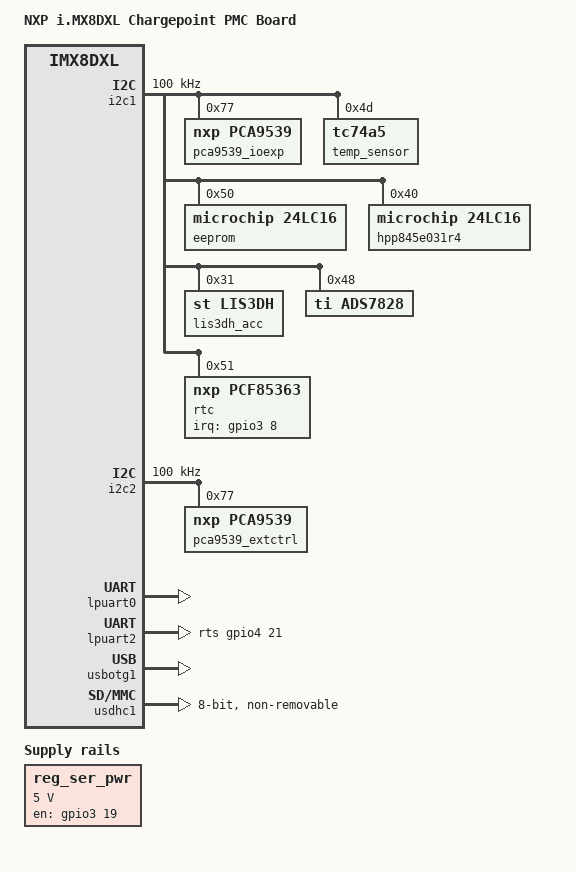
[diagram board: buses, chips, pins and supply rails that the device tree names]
// SPDX-License-Identifier: GPL-2.0+
/*
 * Copyright 2020 NXP
 */

/dts-v1/;

#include "fsl-imx8dxl.dtsi"

#if !defined(CONFIG_FASTBOOT_UUU_SUPPORT)
#include "chargepoint-pubkey.dtsi"
#include "prod-pubkey-pmc.dtsi"
#endif

/ {
	model = "NXP i.MX8DXL Chargepoint PMC Board";
	compatible = "fsl,imx8dxl-pmc", "fsl,imx8dxl";

	chosen {
		bootargs = "console=ttyLP0,115200 earlycon";
		stdout-path = &lpuart0;
	};

	regulators {
		compatible = "simple-bus";
		#address-cells = <1>;
		#size-cells = <0>;

		/* for RS485 and CAN transceiver */
		reg_ser_pwr: regulator-serial-power {
			compatible = "regulator-fixed";
			regulator-name = "ser_pwr_en";
			regulator-min-microvolt = <5000000>;
			regulator-max-microvolt = <5000000>;
			gpio = <&gpio3 19 GPIO_ACTIVE_HIGH>;
			enable-active-high;
			regulator-always-on;
		};

	};
};

&iomuxc {
	pinctrl-names = "default";
	pinctrl-0 = <&pinctrl_hog>;

	pinctrl_hog: hoggrp {
		fsl,pins = <
			SC_P_PCIE_CTRL0_WAKE_B_LSIO_GPIO4_IO02		0x04000021/* ACCEL_INT_B */
			SC_P_PCIE_CTRL0_PERST_B_LSIO_GPIO4_IO00		0x06000021/* INT_B */
			SC_P_PCIE_CTRL0_CLKREQ_B_LSIO_GPIO4_IO01	0x06000021/* SHOCK_SHUNT_TRIP */

			SC_P_SNVS_TAMPER_OUT1_LSIO_GPIO2_IO05_IN	0x20000040/* SOC_SURGE_DET1 */
			SC_P_SNVS_TAMPER_OUT2_LSIO_GPIO2_IO06_IN	0x20000060 /* SOC_SURGE_DET2 */
			SC_P_SNVS_TAMPER_OUT3_LSIO_GPIO2_IO07_IN	0x20000060 /* SOC_SURGE_DET3 */
			SC_P_SNVS_TAMPER_OUT4_LSIO_GPIO2_IO08_IN	0x20000060 /* SOC_SURGE_DET4 */
			SC_P_SPI1_SDI_LSIO_GPIO3_IO02			0x20000020 /* SOC_SURGE_DET5 */

			SC_P_USB_SS3_TC1_LSIO_GPIO4_IO04		0x20000040 /* PM_RESET_N */
			SC_P_USB_SS3_TC3_LSIO_GPIO4_IO06		0x20000020 /* PM_INT_IN */
			SC_P_SPI3_SCK_LSIO_GPIO0_IO13			0x20000040 /* SOC_THER_SW1 */
			SC_P_SPI3_SDI_LSIO_GPIO0_IO15 			0x20000040 /* SOC_THER_SW2 */
			SC_P_SPI3_SDO_LSIO_GPIO0_IO14			0x24000060 /* SOC_THER_SW3 */
			SC_P_MCLK_IN0_LSIO_GPIO0_IO19			0x20000040 /* SOC_THER_SW4 */
			/*SC_P_PMIC_INT_B_SCU_DSC_PMIC_INT_B		0x1b0b0 /* PMIC_INT_B */

			SC_P_MCLK_IN0_LSIO_GPIO0_IO19			0x20000040 /* FAN_TACH_DSP0 */
			SC_P_MCLK_OUT0_LSIO_GPIO0_IO20			0x00000040 /* FAN_TACH_DSP1 */

			SC_P_ADC_IN0_M40_GPIO0_IO00			0x00000040 /* FAN_CURRENT_1_a */
			SC_P_ADC_IN1_M40_GPIO0_IO01			0x00000040 /* FAN_CURRENT_2_a */
			SC_P_ADC_IN2_M40_GPIO0_IO02			0x00000040 /* VIN_0 */
			SC_P_ADC_IN3_M40_GPIO0_IO03			0x00000040 /* TEMP1_OUT */
			SC_P_ADC_IN4_M40_GPIO0_IO04			0x00000040 /* TEMP2_OUT*/
			SC_P_ADC_IN5_M40_GPIO0_IO05			0x00000040 /* V48_DET_ADC*/

			SC_P_QSPI0B_SS0_B_LSIO_GPIO3_IO23		0x20000020 /* PWR_GOOD */
			SC_P_QSPI0B_SCLK_LSIO_GPIO3_IO17		0x20000040 /* PWR_LOSS_INT */
			SC_P_QSPI0A_SS0_B_LSIO_GPIO3_IO14		0x20000020 /* LED0 */
			SC_P_QSPI0A_SCLK_LSIO_GPIO3_IO16		0x20000040 /* SOC_SPAREIO1 */
			SC_P_QSPI0A_DQS_LSIO_GPIO3_IO13			0x20000040 /* SOC_HEATER_ON */
			SC_P_QSPI0B_DATA0_LSIO_GPIO3_IO18		0x20000040 /* ETH_PWR_EN */
			SC_P_QSPI0A_DATA0_LSIO_GPIO3_IO09 		0x20000040 /* SOC_FLOAT_TRIP1 */
			SC_P_QSPI0A_DATA1_LSIO_GPIO3_IO10		0x20000040 /* SOC_FLOAT_TRIP2 */
			SC_P_QSPI0B_DATA1_LSIO_GPIO3_IO19		0x20000040 /* SER_PWR_EN */
			SC_P_USDHC1_CD_B_LSIO_GPIO4_IO22		0x20000020 /* SOC_REED5 */
			SC_P_USDHC1_RESET_B_LSIO_GPIO4_IO19		0x20000020 /* SOC_REED6 */
			SC_P_UART1_CTS_B_LSIO_GPIO0_IO24		0x20000040 /* FAN1_ON */
			SC_P_SPI3_CS0_LSIO_GPIO0_IO16			0x20000040 /* FAN2_ON */

			/*MX6QDL_PAD_DISP0_DAT18__GPIO5_IO12		0x1b0b0 /* I2C PMIC ENABLE */
			SC_P_QSPI0A_DATA2_LSIO_GPIO3_IO11		0x20000040 /* SOC_LED2 */
			SC_P_QSPI0A_DATA3_LSIO_GPIO3_IO12		0x20000040 /* SOC_LED1 */
			SC_P_QSPI0B_DQS_LSIO_GPIO3_IO22			0x20000040 /* MCU_RSTn */
			SC_P_QSPI0B_DATA3_LSIO_GPIO3_IO21		0x24000040 /* SW_PMSHDOWN: Emergency Stop Button */
			SC_P_USDHC1_VSELECT_LSIO_GPIO4_IO20		0x20000040 /* PHY_INTn */
			SC_P_UART1_TX_LSIO_PWM0_OUT			0x08000040 /* FAN1_SP_CTRL */
			SC_P_UART1_RX_LSIO_PWM1_OUT			0x08000040 /* FAN2_SP_CTRL */
			SC_P_QSPI0B_DATA2_LSIO_GPIO3_IO20		0x24000060 /* PHY_RSTn */
		>;
	};

	pinctrl_fec1: fec1grp {
		fsl,pins = <
			SC_P_ENET0_MDC_CONN_ENET0_MDC				0x00000040
			SC_P_ENET0_MDIO_CONN_ENET0_MDIO				0x00000020

			SC_P_ENET0_RGMII_TXC_CONN_ENET0_RGMII_TXC		0x00000040
			SC_P_ENET0_RGMII_TXD0_CONN_ENET0_RGMII_TXD0		0x00000040
			SC_P_ENET0_RGMII_TXD1_CONN_ENET0_RGMII_TXD1		0x00000040
			SC_P_ENET0_RGMII_TXD2_CONN_ENET0_RGMII_TXD2		0x00000040
			SC_P_ENET0_RGMII_TXD3_CONN_ENET0_RGMII_TXD3		0x00000040
			SC_P_ENET0_RGMII_TX_CTL_CONN_ENET0_RGMII_TX_CTL 	0x00000040
			SC_P_ENET0_RGMII_RXC_CONN_ENET0_RGMII_RXC		0x00000040
			SC_P_ENET0_RGMII_RXD0_CONN_ENET0_RGMII_RXD0		0x00000040
			SC_P_ENET0_RGMII_RXD1_CONN_ENET0_RGMII_RXD1		0x00000040
			SC_P_ENET0_RGMII_RXD2_CONN_ENET0_RGMII_RXD2		0x00000040
			SC_P_ENET0_RGMII_RXD3_CONN_ENET0_RGMII_RXD3		0x00000040
			SC_P_ENET0_RGMII_RX_CTL_CONN_ENET0_RGMII_RX_CTL 	0x00000040 
		>;
	};

	pinctrl_flexcan1: flexcan1grp {
		fsl,pins = <
			SC_P_FLEXCAN0_TX_ADMA_FLEXCAN0_TX	0x00000040
			SC_P_FLEXCAN0_RX_ADMA_FLEXCAN0_RX	0x00000040
		>;
	};

	pinctrl_flexcan2: flexcan2grp {
		fsl,pins = <
			SC_P_FLEXCAN1_TX_ADMA_FLEXCAN1_TX	0x00000040
			SC_P_FLEXCAN1_RX_ADMA_FLEXCAN1_RX	0x00000040
		>;
	};

	pinctrl_flexcan3: flexcan3grp {
		fsl,pins = <
			SC_P_FLEXCAN2_RX_ADMA_FLEXCAN2_RX	0x00000040
			SC_P_FLEXCAN2_RX_ADMA_FLEXCAN2_RX	0x00000040
		>;
	};

	pinctrl_i2c1: i2c1grp {
		fsl,pins = <
			SC_P_USB_SS3_TC0_ADMA_I2C1_SCL	0x00000020
			SC_P_USB_SS3_TC2_ADMA_I2C1_SDA	0x00000020
		>;
	};

	pinctrl_i2c2: i2c2grp {
		fsl,pins = <
			SC_P_SPI1_SDO_ADMA_I2C2_SCL		0x10000040
			SC_P_SPI1_SCK_ADMA_I2C2_SDA		0x10000040
		>;
	};

	pinctrl_rtc: rtc {
		fsl,pins = <
			SC_P_QSPI0A_SCLK_LSIO_GPIO3_IO16	0x20000040 /* RTC_IRQn */
		>;
	};

	pinctrl_lpuart0: lpuart0grp { /* DBG Console */
		fsl,pins = <
			SC_P_UART0_TX_ADMA_UART0_TX		0x00000040
			SC_P_UART0_RX_ADMA_UART0_RX		0x00000040
		>;
	};

	pinctrl_lpuart2: lpuart2grp { /* RS485 */
		fsl,pins = <
			SC_P_USDHC1_WP_LSIO_GPIO4_IO21		0x20000040 /* RS485_DE */
			SC_P_SPI1_CS0_LSIO_GPIO3_IO03		0x20000040 /* RS485_REn */
			SC_P_UART2_TX_ADMA_UART2_TX		0x08000040 /* RS485_D */
			SC_P_UART2_RX_ADMA_UART2_RX		0x00000040 /* RS485_R */
		>;
	};

	pinctrl_usdhc1: usdhc1grp { /* eMMC */
		fsl,pins = <
			SC_P_EMMC0_CLK_CONN_EMMC0_CLK		0x06000041
			SC_P_EMMC0_CMD_CONN_EMMC0_CMD		0x00000021
			SC_P_EMMC0_DATA0_CONN_EMMC0_DATA0	0x00000021
			SC_P_EMMC0_DATA1_CONN_EMMC0_DATA1	0x00000021
			SC_P_EMMC0_DATA2_CONN_EMMC0_DATA2	0x00000021
			SC_P_EMMC0_DATA3_CONN_EMMC0_DATA3	0x00000021
			SC_P_EMMC0_DATA4_CONN_EMMC0_DATA4	0x00000021
			SC_P_EMMC0_DATA5_CONN_EMMC0_DATA5	0x00000021
			SC_P_EMMC0_DATA6_CONN_EMMC0_DATA6	0x00000021
			SC_P_EMMC0_DATA7_CONN_EMMC0_DATA7	0x00000021
			SC_P_EMMC0_STROBE_CONN_EMMC0_STROBE	0x00000041
			SC_P_EMMC0_RESET_B_CONN_EMMC0_RESET_B	0x00000021

		>;
	};

	pinctrl_usdhc1_100mhz: usdhc1grp100mhz  { /* eMMC */
		fsl,pins = <
			SC_P_EMMC0_CLK_CONN_EMMC0_CLK		0x06000041
			SC_P_EMMC0_CMD_CONN_EMMC0_CMD		0x00000021
			SC_P_EMMC0_DATA0_CONN_EMMC0_DATA0	0x00000021
			SC_P_EMMC0_DATA1_CONN_EMMC0_DATA1	0x00000021
			SC_P_EMMC0_DATA2_CONN_EMMC0_DATA2	0x00000021
			SC_P_EMMC0_DATA3_CONN_EMMC0_DATA3	0x00000021
			SC_P_EMMC0_DATA4_CONN_EMMC0_DATA4	0x00000021
			SC_P_EMMC0_DATA5_CONN_EMMC0_DATA5	0x00000021
			SC_P_EMMC0_DATA6_CONN_EMMC0_DATA6	0x00000021
			SC_P_EMMC0_DATA7_CONN_EMMC0_DATA7	0x00000021
			SC_P_EMMC0_STROBE_CONN_EMMC0_STROBE	0x00000041
			SC_P_EMMC0_RESET_B_CONN_EMMC0_RESET_B	0x00000021

		>;
	};

	pinctrl_usdhc1_200mhz: usdhc1grp200mhz { /* eMMC */
		fsl,pins = <
			SC_P_EMMC0_CLK_CONN_EMMC0_CLK		0x06000041
			SC_P_EMMC0_CMD_CONN_EMMC0_CMD		0x00000021
			SC_P_EMMC0_DATA0_CONN_EMMC0_DATA0	0x00000021
			SC_P_EMMC0_DATA1_CONN_EMMC0_DATA1	0x00000021
			SC_P_EMMC0_DATA2_CONN_EMMC0_DATA2	0x00000021
			SC_P_EMMC0_DATA3_CONN_EMMC0_DATA3	0x00000021
			SC_P_EMMC0_DATA4_CONN_EMMC0_DATA4	0x00000021
			SC_P_EMMC0_DATA5_CONN_EMMC0_DATA5	0x00000021
			SC_P_EMMC0_DATA6_CONN_EMMC0_DATA6	0x00000021
			SC_P_EMMC0_DATA7_CONN_EMMC0_DATA7	0x00000021
			SC_P_EMMC0_STROBE_CONN_EMMC0_STROBE	0x00000041
			SC_P_EMMC0_RESET_B_CONN_EMMC0_RESET_B	0x00000021

		>;
	};

};

&i2c1 {
	clock-frequency = <100000>;
	pinctrl-names = "default";
	pinctrl-0 = <&pinctrl_i2c1>;
	status = "okay";

	/* power module interface */
	pca9539_ioexp: ioexp@77{
		compatible = "nxp,pca9539";
		gpio-controller;
		#gpio-cells = <2>;
		reg = <0x77>;
	};

	temp_sensor: tc74a5@4d {
		compatible = "tc74a5";
		reg = <0x4d>;
	};

	eeprom: eeprom@50 {
		compatible = "microchip,24lc16";
		reg = <0x50>;
		pagesize = <16>;
	};

	/* humidity sensor */
	hpp845e031r4@40 {
		compatible = "microchip,24lc16";
		reg = <0x40>;
	};

	/* tilt sensor */
	lis3dh_acc@31 { /* Accelerometer */
		compatible = "st,lis3dh";
		reg = <0x31>;
	};

	ads7828@48 { /* ADC */
		compatible = "ti,ads7828";
		reg = <0x48>;
		st,drdy-int-pin = <1>;
	};

	rtc@51 {/* RTC */
		compatible = "nxp,pcf85363";
		reg = <0x51>;
		pinctrl-names = "default";
		pinctrl-0 = <&pinctrl_rtc>;
		interrupt-parent = <&gpio3>;
		interrupts = <8 IRQ_TYPE_LEVEL_LOW>;
		interrupt-names = "rtc_irqn";
	};

};

&i2c2 {
	clock-frequency = <100000>;
	pinctrl-names = "default";
	pinctrl-0 = <&pinctrl_i2c2>;
	status = "okay";

	/* power module interface */
	pca9539_extctrl: extctrl@77 {
		compatible = "nxp,pca9539";
		gpio-controller;
		#gpio-cells = <2>;
		reg = <0x77>;
	};
};

&lpuart0 { /* console */
	pinctrl-names = "default";
	pinctrl-0 = <&pinctrl_lpuart0>;
	status = "okay";
};

&lpuart2 { /* RS485 */
	pinctrl-names = "default";
	pinctrl-0 = <&pinctrl_lpuart2>;
	rts-gpios = <&gpio4 21 GPIO_ACTIVE_HIGH>; /* RS485_DE */
	/* RS485_REn is set to low in uboot i.e we are always receive ready */
	linux,rs485-enabled-at-boot-time;
	rs485-rx-during-tx;
	status = "okay";
};

&usbotg1 {
	srp-disable;
	hnp-disable;
	adp-disable;
	power-active-high;
	disable-over-current;
	status = "okay";
};

&usdhc1 {
	pinctrl-names = "default", "state_100mhz", "state_200mhz";
	pinctrl-0 = <&pinctrl_usdhc1>;
	pinctrl-1 = <&pinctrl_usdhc1_100mhz>;
	pinctrl-2 = <&pinctrl_usdhc1_200mhz>;
	bus-width = <8>;
	non-removable;
	status = "okay";
};


